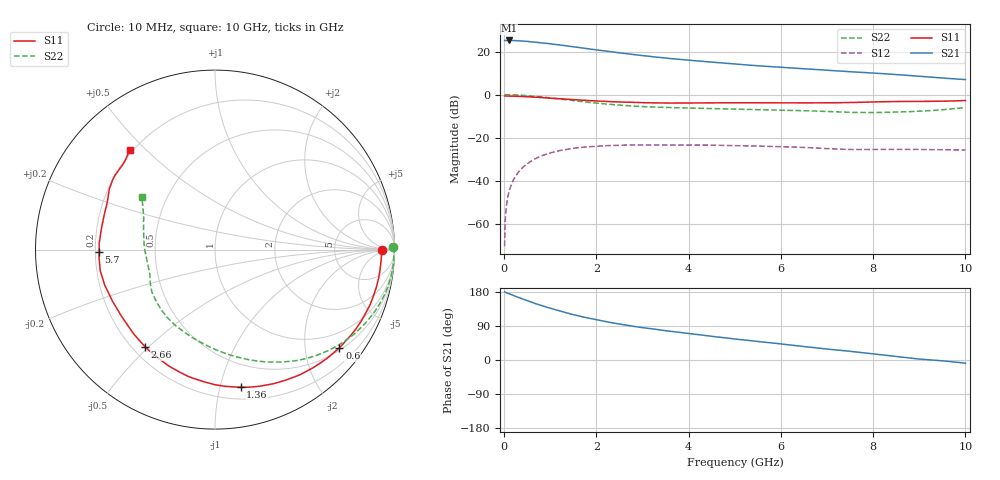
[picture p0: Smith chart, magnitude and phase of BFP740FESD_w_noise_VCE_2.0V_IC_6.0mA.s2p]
! Infineon Technologies  Discrete & RF Semiconductors
! BFP740FESD
! VCE =  2.0 V,  IC =  6.0 mA
! Common Emitter S-Parameters:  Jan 2016
# GHz  S  MA  R  50
!  f  S11  S21  S12  S22
! GHz  MAG  ANG  MAG  ANG  MAG  ANG  MAG  ANG
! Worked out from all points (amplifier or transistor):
!   233 points, 10 MHz to 10 GHz, reference 50 ohm
!   highest |S21| = 25.2 dB at 100 MHz (marker M1)
!   |S21| within 3 dB of that: start of sweep to 1.526 GHz
!   unconditionally stable (mu >= 1): start of sweep to 10.4 MHz; 6.932 GHz to end of sweep
!   at 200 MHz: K = 0.02, MSG = 32.5 dB, |S12| = -39.7 dB
!   at 1.74 GHz: K = 0.22, MSG = 23.0 dB, |S12| = -24.4 dB
!   at 10 GHz: K = 1.46, MAG = 12.3 dB, |S12| = -25.7 dB
!   lowest NFmin = 0.52 dB at 450 MHz
!   S11 on the Smith chart (normalised r, x): 10 MHz: 28, +0; 600 MHz: 0.56, -2.78; 1.36 GHz: 0.30, -1.16; 2.66 GHz: 0.25, -0.49; 5.7 GHz: 0.22, -0.01; 10 GHz: 0.19, +0.45
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0.01  0.93 0.0  18.14 179.7  0.0003 23.6  0.9897 0.7
0.02  0.9281 -1.5  18.1 179.1  0.001 86.1  0.9978 -0.9
0.035  0.9279 -2.4  18.09 178.3  0.0018 89.8  0.9978 -1.6
0.1  0.9273 -6.5  18.2 175.4  0.0053 86.7  0.9972 -4.6
0.3  0.9169 -19.7  17.93 165.6  0.0153 78.4  0.9804 -13.7
0.6  0.8831 -38.3  16.93 152.1  0.0292 67.0  0.9306 -26.5
0.72  0.8665 -45.4  16.45 147.2  0.0342 62.8  0.9055 -31.5
0.94  0.8365 -57.8  15.49 138.7  0.0422 55.5  0.8559 -40.0
1.18  0.804 -70.5  14.42 130.0  0.0495 48.2  0.7993 -48.9
1.36  0.7796 -79.4  13.61 124.0  0.0537 43.1  0.7572 -55.1
1.68  0.7429 -93.3  12.25 114.5  0.0595 35.3  0.6907 -65.0
1.94  0.7188 -103.1  11.22 107.7  0.0627 30.1  0.6455 -72.3
2.2  0.6975 -111.8  10.31 101.4  0.065 25.4  0.6076 -79.1
2.66  0.6665 -125.7  8.94 91.7  0.0672 18.3  0.555 -90.2
3  0.6521 -134.3  8.084 85.3  0.0678 14.1  0.5287 -97.0
3.4  0.6405 -142.6  7.262 79.1  0.0677 10.3  0.509 -103.3
4.1  0.6395 -155.3  6.2 68.5  0.0673 5.0  0.4853 -112.7
5.1  0.6492 -170.8  5.053 54.2  0.065 -1.6  0.4596 -126.4
5.7  0.6458 -178.8  4.543 46.4  0.0629 -4.6  0.4442 -134.0
6.8  0.6445 165.3  3.817 31.7  0.0571 -8.3  0.4132 -149.7
8.4  0.6907 145.5  2.985 10.6  0.0537 -4.1  0.3917 180.0
10  0.7302 130.6  2.239 -8.3  0.0517 -3.1  0.5026 144.2
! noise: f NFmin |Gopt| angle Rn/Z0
0.45  0.52  0.43  5  0.12
2.4  0.63  0.27  44  0.11
5.5  0.81  0.38  128  0.08
10  1.5  0.42  -139  0.13
